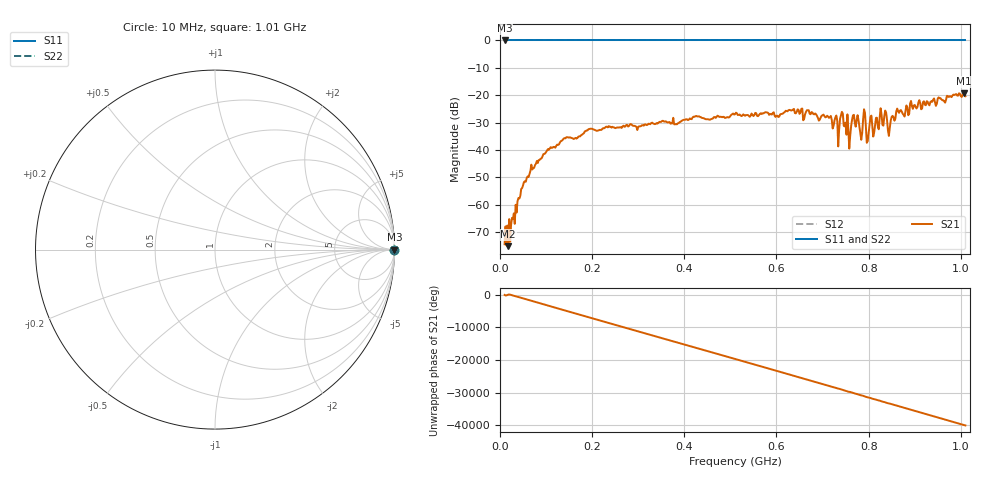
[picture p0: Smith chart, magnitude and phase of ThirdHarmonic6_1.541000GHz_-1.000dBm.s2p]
! 8/16/2025 6:16:42 PM
! C:\ANRITSUVNA\TEMP\TEMP.S2P
! CHANNEL.1
! TR.MEASUREMENT
! RAW.DATA
! RF.CORRECTION.OFF
! AVERAGING.OFF
! IF.BANDWIDTH: 5KHZ
! SWEEPTYPE:  FREQ.SWEEP(Linear)
! Reference Plane Port Info
! PORT:  PORT1  PORT2
! DISTANCE:  0  m  0  m
! TIME:  0  s  0  s
! PHASE.OFFSET:  0  deg.  0  deg.
! LOSS:  0  dB  0  dB
! REF.LOSS:  0  dB  0  dB
! REF.FREQ:  0  Hz  0  Hz
! Power Info
! POWER:  -20  dBm  -20  dBm
! EFF.POWER:  -20  dBm  -20  dBm
! SOURCE.ATTEN:  0  dB  0  dB
! TEST.ATTEN:  0  dB  0  dB
# GHZ S RI R 50.0
! FREQ.GHZ  S11RE  S11IM  S21RE  S21IM  S12RE  S12IM  S22RE  S22IM
!; PortSelection: Port_12
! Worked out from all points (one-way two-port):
!   501 points, 10 MHz to 1.01 GHz, reference 50 ohm
!   highest |S21| = -19.29 dB at 1.006 GHz (marker M1); lowest = -75.2 dB at 18 MHz (marker M2)
!   lowest |S11| = 0.0 dB at 10 MHz (marker M3)
!   |S11| at or under -10 dB: nowhere
!   |S22| runs from 0.0 to 0.0 dB; largest |S21 - S12| = 1.1
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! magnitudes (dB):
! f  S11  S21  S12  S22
! 10 MHz  0.0  -74.5  0.0  0.0
! 18 MHz  0.0  -75.2  0.0  0.0
! 50 MHz  0.0  -53.0  0.0  0.0
! 68 MHz  0.0  -45.4  0.0  0.0
! 106 MHz  0.0  -39.9  0.0  0.0
! 178 MHz  0.0  -34.5  0.0  0.0
! 344 MHz  0.0  -30.1  0.0  0.0
! 510 MHz  0.0  -27.0  0.0  0.0
! 678 MHz  0.0  -26.3  0.0  0.0
! 734 MHz  0.0  -38.7  0.0  0.0
! 742 MHz  0.0  -26.1  0.0  0.0
! 756 MHz  0.0  -32.7  0.0  0.0
! 766 MHz  0.0  -27.4  0.0  0.0
! 782 MHz  0.0  -33.9  0.0  0.0
! 790 MHz  0.0  -25.2  0.0  0.0
! 798 MHz  0.0  -36.8  0.0  0.0
! 804 MHz  0.0  -27.9  0.0  0.0
! 828 MHz  0.0  -27.0  0.0  0.0
! 844 MHz  0.0  -34.9  0.0  0.0
! 894 MHz  0.0  -24.0  0.0  0.0
! 1.006 GHz  0.0  -19.3  0.0  0.0
! 1.01 GHz  0.0  -20.4  0.0  0.0
